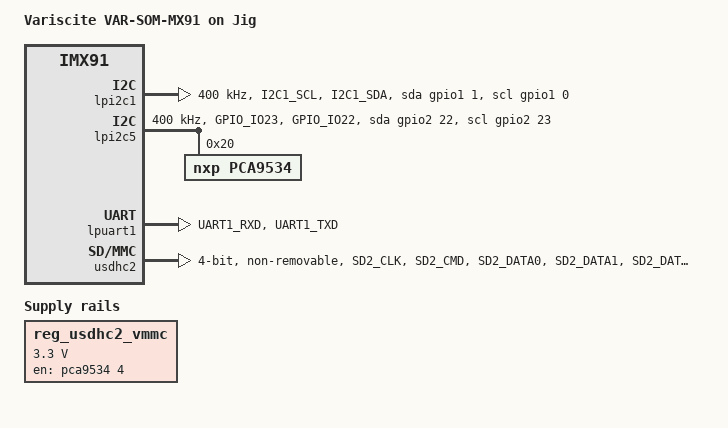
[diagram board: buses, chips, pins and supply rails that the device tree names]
// SPDX-License-Identifier: (GPL-2.0+ OR MIT)
/*
 * Copyright 2024 NXP
 * Copyright 2025 Variscite Ltd.
 */

/dts-v1/;

#include "imx91-var-som.dtsi"

/{
	model = "Variscite VAR-SOM-MX91 on Jig";
	compatible = "variscite,imx91-var-som", "fsl,imx91";

	chosen {
		stdout-path = &lpuart1;
	};

	reg_usdhc2_vmmc: regulator-usdhc2 {
		compatible = "regulator-fixed";
		regulator-name = "VSD_3V3";
		regulator-min-microvolt = <3300000>;
		regulator-max-microvolt = <3300000>;
		gpio = <&pca9534 4 GPIO_ACTIVE_HIGH>;
		off-on-delay-us = <200000>;
		startup-delay-us = <200000>;
		enable-active-high;
		regulator-always-on;
	};
};

&iomuxc {
	pinctrl-names = "default";
	pinctrl-0 = <&pinctrl_hog>;

	pinctrl_hog: pinctrlhoggrp {
		fsl,pins = <
			/* pull up on ONOFF line in DART-JIG*/
			MX91_PAD_GPIO_IO15__GPIO2_IO15			0x31e
		>;
	};

	pinctrl_lpi2c1_gpio: lpi2c1grp-gpio {
		fsl,pins = <
			MX91_PAD_I2C1_SCL__GPIO1_IO0			0x31e
			MX91_PAD_I2C1_SDA__GPIO1_IO1			0x31e
		>;
	};

	pinctrl_lpi2c1: lpi2c1grp {
		fsl,pins = <
			MX91_PAD_I2C1_SCL__LPI2C1_SCL			0x40000b9e
			MX91_PAD_I2C1_SDA__LPI2C1_SDA			0x40000b9e
		>;
	};

	pinctrl_lpi2c5: lpi2c5grp {
		fsl,pins = <
			MX91_PAD_GPIO_IO23__LPI2C5_SCL			0x40000b9e
			MX91_PAD_GPIO_IO22__LPI2C5_SDA			0x40000b9e
		>;
	};

	pinctrl_lpi2c5_gpio: lpi2c5grp-gpio {
		fsl,pins = <
			MX91_PAD_GPIO_IO23__GPIO2_IO23			0x31e
			MX91_PAD_GPIO_IO22__GPIO2_IO22			0x31e
		>;
	};

	pinctrl_uart1: uart1grp {
		fsl,pins = <
			MX91_PAD_UART1_RXD__LPUART1_RX			0x31e
			MX91_PAD_UART1_TXD__LPUART1_TX			0x31e
		>;
	};

	/* need to config the SION for data and cmd pad, refer to ERR052021 */
	pinctrl_usdhc2: usdhc2grp {
		fsl,pins = <
			MX91_PAD_SD2_CLK__USDHC2_CLK		0x1582
			MX91_PAD_SD2_CMD__USDHC2_CMD		0x40001382
			MX91_PAD_SD2_DATA0__USDHC2_DATA0	0x40001382
			MX91_PAD_SD2_DATA1__USDHC2_DATA1	0x40001382
			MX91_PAD_SD2_DATA2__USDHC2_DATA2	0x40001382
			MX91_PAD_SD2_DATA3__USDHC2_DATA3	0x40001382
			MX91_PAD_SD2_VSELECT__USDHC2_VSELECT	0x51e
		>;
	};

	/* need to config the SION for data and cmd pad, refer to ERR052021 */
	pinctrl_usdhc2_100mhz: usdhc2-100mhzgrp {
		fsl,pins = <
			MX91_PAD_SD2_CLK__USDHC2_CLK		0x158e
			MX91_PAD_SD2_CMD__USDHC2_CMD		0x4000138e
			MX91_PAD_SD2_DATA0__USDHC2_DATA0	0x4000138e
			MX91_PAD_SD2_DATA1__USDHC2_DATA1	0x4000138e
			MX91_PAD_SD2_DATA2__USDHC2_DATA2	0x4000138e
			MX91_PAD_SD2_DATA3__USDHC2_DATA3	0x4000138e
			MX91_PAD_SD2_VSELECT__USDHC2_VSELECT	0x51e
		>;
	};

	/* need to config the SION for data and cmd pad, refer to ERR052021 */
	pinctrl_usdhc2_200mhz: usdhc2-200mhzgrp {
		fsl,pins = <
			MX91_PAD_SD2_CLK__USDHC2_CLK		0x15fe
			MX91_PAD_SD2_CMD__USDHC2_CMD		0x400013fe
			MX91_PAD_SD2_DATA0__USDHC2_DATA0	0x400013fe
			MX91_PAD_SD2_DATA1__USDHC2_DATA1	0x400013fe
			MX91_PAD_SD2_DATA2__USDHC2_DATA2	0x400013fe
			MX91_PAD_SD2_DATA3__USDHC2_DATA3	0x400013fe
			MX91_PAD_SD2_VSELECT__USDHC2_VSELECT	0x51e
		>;
	};
};

&lpi2c1 {
	#address-cells = <1>;
	#size-cells = <0>;
	clock-frequency = <400000>;
	pinctrl-names = "default", "sleep", "gpio";
	pinctrl-0 = <&pinctrl_lpi2c1>;
	pinctrl-1 = <&pinctrl_lpi2c1_gpio>;
	pinctrl-2 = <&pinctrl_lpi2c1_gpio>;
	scl-gpios = <&gpio1 0 GPIO_ACTIVE_HIGH>;
	sda-gpios = <&gpio1 1 GPIO_ACTIVE_HIGH>;
	status = "okay";
};

&lpi2c5 {
	#address-cells = <1>;
	#size-cells = <0>;
	clock-frequency = <400000>;
	pinctrl-names = "default", "sleep", "gpio";
	pinctrl-0 = <&pinctrl_lpi2c5>;
	pinctrl-1 = <&pinctrl_lpi2c5_gpio>;
	pinctrl-2 = <&pinctrl_lpi2c5_gpio>;
	scl-gpios = <&gpio2 23 GPIO_ACTIVE_HIGH>;
	sda-gpios = <&gpio2 22 GPIO_ACTIVE_HIGH>;
	status = "okay";

	pca9534: gpio@20 {
		status = "okay";
		compatible = "nxp,pca9534";
		reg = <0x20>;
		gpio-controller;
		#gpio-cells = <2>;
	};
};

&lpuart1 { /* console */
	pinctrl-names = "default";
	pinctrl-0 = <&pinctrl_uart1>;
	status = "okay";
};

&usdhc2 {
	pinctrl-names = "default", "state_100mhz", "state_200mhz";
	pinctrl-0 = <&pinctrl_usdhc2>;
	pinctrl-1 = <&pinctrl_usdhc2_100mhz>;
	pinctrl-2 = <&pinctrl_usdhc2_200mhz>;
	non-removable;
	bus-width = <4>;
	status = "okay";
	no-sdio;
	no-mmc;
};
